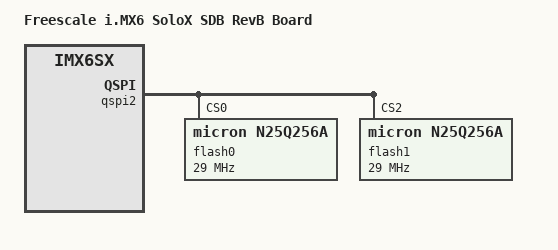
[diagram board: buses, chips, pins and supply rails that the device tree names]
// SPDX-License-Identifier: GPL-2.0
//
// Copyright (C) 2015 Freescale Semiconductor, Inc.

#include "imx6sx-sdb.dtsi"

/ {
	model = "Freescale i.MX6 SoloX SDB RevB Board";
};

&cpu0 {
	operating-points = <
		/* kHz    uV */
		996000  1250000
		792000  1175000
		396000  1175000
	>;
	fsl,soc-operating-points = <
		/* ARM kHz      SOC uV */
		996000  1250000
		792000  1175000
		396000  1175000
	>;

	fsl,arm-soc-shared = <1>;
};

&reg_arm {
	vin-supply = <&sw1a_reg>;
	regulator-allow-bypass;
};

&reg_soc {
	vin-supply = <&sw1a_reg>;
	regulator-allow-bypass;
};

&qspi2 {
	pinctrl-names = "default";
	pinctrl-0 = <&pinctrl_qspi2>;
	status = "okay";

#ifndef SPANSIONFLASH
	ddrsmp=<0>;

	flash0: n25q256a@0 {
		#address-cells = <1>;
		#size-cells = <1>;
		compatible = "micron,n25q256a", "jedec,spi-nor";
		spi-max-frequency = <29000000>;
		spi-rx-bus-width = <4>;
		spi-tx-bus-width = <4>;
		reg = <0>;
	};

	flash1: n25q256a@2 {
		#address-cells = <1>;
		#size-cells = <1>;
		compatible = "micron,n25q256a", "jedec,spi-nor";
		spi-max-frequency = <29000000>;
		spi-rx-bus-width = <4>;
		spi-tx-bus-width = <4>;
		reg = <2>;
	};
#endif
};

&reg_arm {
	vin-supply = <&sw1a_reg>;
	regulator-allow-bypass;
};

&reg_soc {
	vin-supply = <&sw1a_reg>;
	regulator-allow-bypass;
};

&reg_can_stby {
	/* Transceiver EN/STBY is active low on RevB board */
	gpio = <&gpio4 27 GPIO_ACTIVE_LOW>;
};

&usbphy1 {
	tx-d-cal = <0x5>;
};

&usbphy2 {
	tx-d-cal = <0x5>;
};
